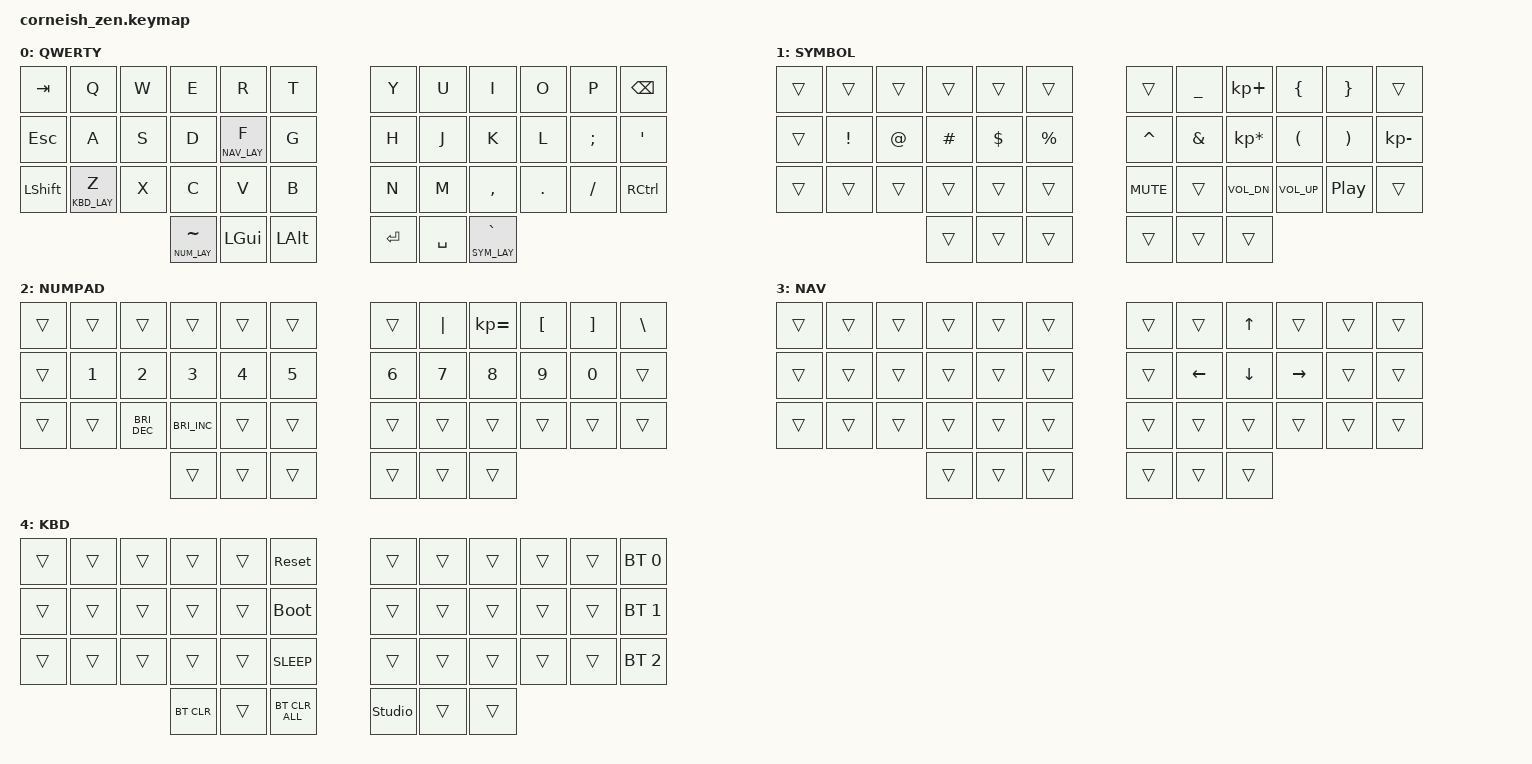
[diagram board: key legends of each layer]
/*
*
* Copyright (c) 2021 Darryl deHaan
* SPDX-License-Identifier: MIT
*
*/

#include <behaviors.dtsi>
#include <dt-bindings/zmk/keys.h>
#include <dt-bindings/zmk/bt.h>

/ {
    chosen {
        zmk,physical-layout = &foostan_corne_6col_layout;
    };
};

#define SYM_LAY 1
#define NUM_LAY 2
#define NAV_LAY 3
#define KBD_LAY 4

/ {
    keymap {
        compatible = "zmk,keymap";

        default_layer {
            display-name = "QWERTY";
// --------------------------------------------------------------------------------
// |  TAB |  Q  |  W  |  E  |  R  |  T  |   |  Y  |  U   |  I  |  O  |  P  | BSPC |
// |  ESC |  A  |  S  |  D  |  F  |  G  |   |  H  |  J   |  K  |  L  |  ;  |  '   |
// | SHFT |  Z  |  X  |  C  |  V  |  B  |   |  N  |  M   |  ,  |  .  |  /  | CTRL |
//                    |  ~  | GUI | ALT |   | ENT | SPC  |  `  |
// Holding
// -----------------------------------------------------------------------------------------
// |      |     |     |     |     |     |   |     |      |     |     |     |      |
// |      |     |     |     | NAV |     |   |     |      |     |     |     |      |
// |      | KBD |     |     |     |     |   |     |      |     |     |     |      |
//                    | NUM |     |     |   |     |      | SYM |

            bindings = <
&kp TAB   &kp Q &kp W &kp E &kp R &kp T   &kp Y &kp U  &kp I     &kp O   &kp P    &kp BSPC
&kp ESC &kp A &kp S &kp D &lt NAV_LAY F &kp G   &kp H &kp J  &kp K     &kp L   &kp SEMI &kp SQT
&kp LSHFT &lt KBD_LAY Z &kp X &kp C &kp V &kp B   &kp N &kp M  &kp COMMA &kp DOT &kp FSLH &kp RCTRL
               &lt NUM_LAY TILDE &kp LGUI       &kp LALT &kp RET &kp SPACE &lt SYM_LAY GRAVE
            >;
        };

        sym_layer {
                        label = "SYMBOL";
// -----------------------------------------------------------------------------------------
// |      |     |     |     |     |     |   |     |  _  |  +  |  {  |  }  |      |
// |      |  !  |  @  |  #  |  $  |  %  |   |  ^  |  &  |  *  |  (  |  )  |  -   |
// |      |     |     |     |     |     |   | MUT |     | VL+ | VL- | PLY |      |
//                    |     |     |     |   |     |     |     |
                        bindings = <
   &trans &trans   &trans &trans   &trans   &trans    &trans     &kp UNDER  &kp KP_PLUS     &kp LBRC     &kp RBRC         &trans
   &trans &kp EXCL &kp AT &kp HASH &kp DLLR &kp PRCNT &kp CARET  &kp AMPS   &kp KP_MULTIPLY &kp LPAR     &kp RPAR         &kp KP_MINUS
   &trans &trans   &trans &trans   &trans   &trans    &kp C_MUTE &trans &kp C_VOL_DN    &kp C_VOL_UP &kp C_PLAY_PAUSE &trans
                          &trans   &trans   &trans    &trans     &trans     &trans 
                        >;
                };

                num_layer {
                        label = "NUMPAD";
// -----------------------------------------------------------------------------------------
// |      |     |     |     |     |     |   |     | "|" |  =  |  [  |  ]  |  \   |
// |      |  1  |  2  |  3  |  4  |  5  |   |  6  |  7  |  8  |  9  |  0  |      |
// |      |     | BR- | BR+ |     |     |   |     |     |     |     |     |      |
//                    |     |     |     |   |     |     |     |
                        bindings = <
   &trans &trans &trans        &trans        &trans &trans &trans &kp PIPE &kp KP_EQUAL &kp LBKT &kp RBKT &kp BSLH
   &trans &kp N1 &kp N2        &kp N3        &kp N4 &kp N5 &kp N6 &kp N7   &kp N8       &kp N9   &kp N0   &trans
   &trans &trans &kp C_BRI_DEC &kp C_BRI_INC &trans &trans &trans &trans   &trans       &trans   &trans   &trans
                               &trans        &trans &trans &trans &trans   &trans
                        >;
                };

                nav_layer {
                        label = "NAV";
// -----------------------------------------------------------------------------------------
// |      |     |     |     |     |     |   |     |     | UP  |     |     |      |
// |      |     |     |     |     |     |   |     |LEFT |DOWN |RIGHT|     |      |
// |      |     |     |     |     |     |   |     |     |     |     |     |      |
//                    |     |     |     |   |     |     |     |
                        bindings = <
   &trans &trans &trans &trans &trans &trans      &trans &trans   &kp UP   &trans    &trans &trans
   &trans &trans &trans &trans &trans &trans &trans &kp LEFT &kp DOWN &kp RIGHT &trans &trans
   &trans &trans &trans &trans &trans &trans &trans &trans   &trans   &trans    &trans &trans      
                        &trans &trans &trans      &trans &trans   &trans
                        >;
                };

                kbd_layer {
                        label = "KBD";
// -----------------------------------------------------------------------------------------
// |      |     |     |     |     | RST |   |     |     |     |     |     | BT 0 |
// |      |     |     |     |     | BTL |   |     |     |     |     |     | BT 1 |
// |      |     |     |     |     | SLP |   |     |     |     |     |     | BT 2 |
//                    | BTC |     | BCA |   | ZSU |     |     |
                        bindings = <
   &trans &trans &trans &trans &trans &sys_reset      &trans &trans   &trans   &trans    &trans &bt BT_SEL 0
   &trans &trans &trans &trans &trans &bootloader &trans &trans &trans &trans &trans &bt BT_SEL 1
   &trans &trans &trans &trans &trans &kp C_SLEEP &trans &trans   &trans   &trans    &trans &bt BT_SEL 2       
                        &bt BT_CLR &trans &bt BT_CLR_ALL      &studio_unlock &trans   &trans
                        >;
                };
    };
};
